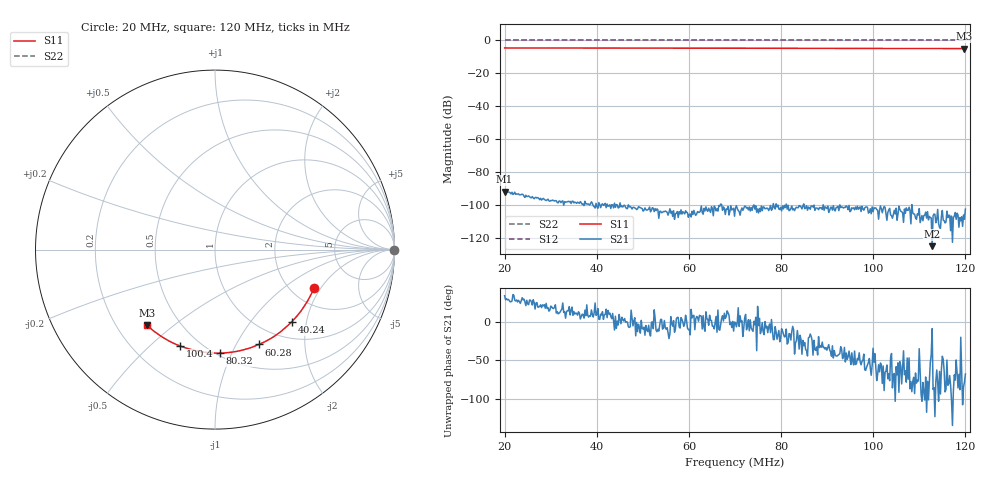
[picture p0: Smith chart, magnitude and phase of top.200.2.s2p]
! Anritsu VNA Master:  Model: MS2036C/10/77
! SN:  1601066
! /bd0/18may08.cable.cal/top.200.2.s2p
! Existing Calibration Information:
! TYPE:  Current Settings,  Active Cal Settings
! TIME:  05/08/2018 06:16:37 PM,  05/08/2018 05:57:55 PM
! INTERNAL TEMP:  49.5 C,  49.3 C
! # POINTS:  500,  500
! START FREQ:  20.000 MHz,  20.000 MHz
! STOP FREQ:  120.000 MHz,  120.000 MHz
! SOURCE POWER:  High,  High
! IFBW:  50 Hz,  50 Hz
! AVG FACTOR:  1 ,  1
! REF PLANE 1:  0 mm,  0 mm
! REF PLANE 2:  0 mm,  0 mm
! CAL TYPE:  Full S11,  Full S11
! CAL METHOD:  SOLT,  SOLT
! CAL LINE TYPE:  Coax,  Coax
! DUT PORT 1:  K-Conn(F),  K-Conn(F)
! DUT PORT 2:  K-Conn(F),  K-Conn(F)
! CAL STATUS:  OK: Accuracy High,  --
# GHZ S DB R 50.0
! FREQ.GHZ  S11DB  S11A  S21DB  S21A  S12DB  S12A  S22DB  S22A
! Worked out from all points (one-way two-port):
!   500 points, 20 MHz to 120 MHz, reference 50 ohm
!   highest |S21| = -91.85 dB at 20 MHz (marker M1); lowest = -125.0 dB at 112.8 MHz (marker M2)
!   lowest |S11| = -4.9 dB at 119.8 MHz (marker M3), VSWR 3.62, Z = 16.3 - j20.2 ohm
!   |S11| at or under -10 dB: nowhere
!   |S22| runs from 0.0 to 0.0 dB; largest |S21 - S12| = 1
!   S11 on the Smith chart (normalised r, x): 20 MHz: 2.63, -1.74; 40.24 MHz: 1.34, -1.64; 60.28 MHz: 0.78, -1.24; 80.32 MHz: 0.52, -0.90; 100.4 MHz: 0.39, -0.63; 120 MHz: 0.33, -0.40
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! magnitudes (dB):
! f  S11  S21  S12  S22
! 20 MHz  -4.6  -91.8  0.0  0.0
! 30.62 MHz  -4.6  -97.3  0.0  0.0
! 31.62 MHz  -4.6  -98.7  0.0  0.0
! 36.83 MHz  -4.6  -99.6  0.0  0.0
! 40.24 MHz  -4.6  -102.0  0.0  0.0
! 53.47 MHz  -4.7  -108.1  0.0  0.0
! 55.67 MHz  -4.7  -104.5  0.0  0.0
! 60.28 MHz  -4.7  -105.5  0.0  0.0
! 61.88 MHz  -4.7  -104.0  0.0  0.0
! 62.89 MHz  -4.7  -104.6  0.0  0.0
! 66.69 MHz  -4.7  -100.8  0.0  0.0
! 70.1 MHz  -4.7  -101.9  0.0  0.0
! 75.11 MHz  -4.8  -104.8  0.0  0.0
! 80.32 MHz  -4.8  -100.6  0.0  0.0
! 86.73 MHz  -4.8  -100.6  0.0  0.0
! 93.55 MHz  -4.8  -101.9  0.0  0.0
! 97.96 MHz  -4.9  -103.2  0.0  0.0
! 100.4 MHz  -4.9  -101.8  0.0  0.0
! 103.4 MHz  -4.9  -103.0  0.0  0.0
! 112.8 MHz  -4.9  -125.0  0.0  0.0
! 119.8 MHz  -4.9  -108.6  0.0  0.0
! 120 MHz  -4.9  -102.5  0.0  0.0
